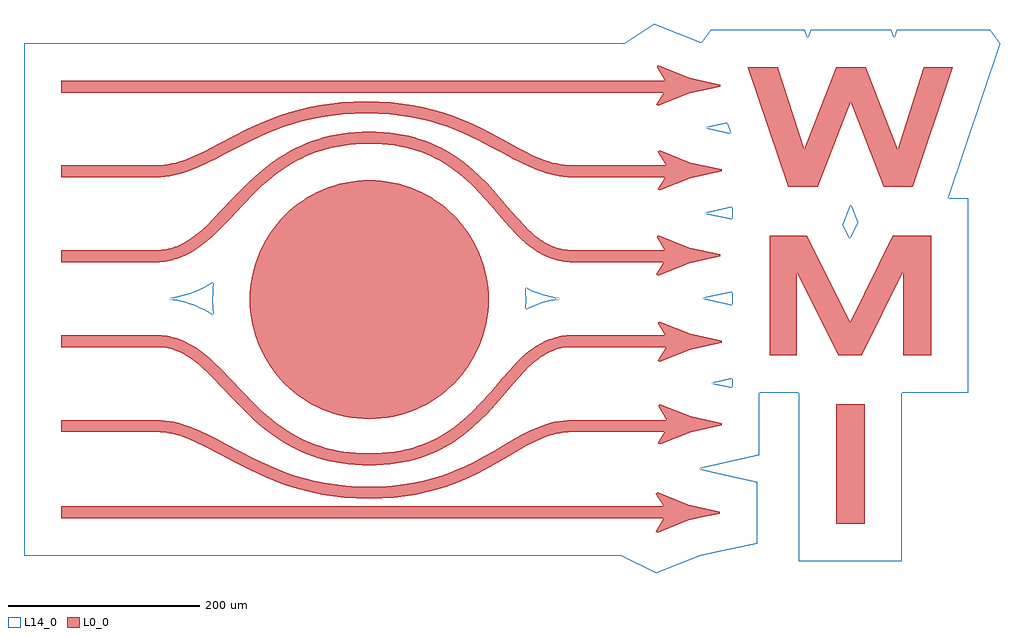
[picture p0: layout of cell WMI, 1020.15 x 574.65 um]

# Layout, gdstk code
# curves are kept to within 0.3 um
import gdstk
lib = gdstk.Library(unit=1e-6, precision=1e-09)
def R(c, l, rs):  # rectangles x0, y0, x1, y1
    for r in rs: c.add(gdstk.rectangle(r[:2], r[2:], *l))
def P(c, l, *ps):  # polygons
    for p in ps: c.add(gdstk.Polygon(p, *l))
L0_0 = (0, 0)
L14_0 = (14, 0)

wmi = lib.new_cell('WMI')
R(wmi, L0_0, [(338.721,-235.481,368.603,-110.579)])
P(wmi, L0_0, [(152.34,-244.642),(150.223,-243.585),(158.51,-229.88),(-471.076,-229.88),(-471.076,-217.404),(158.417,-217.404),(150.293,-204.035),(152.262,-202.724),(184.242,-215.423),(217.127,-222.657),(217.127,-224.74),(184.242,-231.971)],
  [(-149.189,-209.276),(-162.359,-208.988),(-186.957,-206.792),(-209.401,-202.744),(-229.923,-197.202),(-239.533,-193.985),(-257.582,-186.867),(-274.262,-179.149),(-321.741,-154.197),(-338.39,-146.619),(-350.741,-142.469),(-363.213,-140.032),(-371.704,-139.537),(-471.076,-139.537),(-471.076,-127.057),(-371.704,-127.057),(-362.48,-127.571),(-353.409,-129.05),(-339.942,-132.844),(-326.444,-138.222),(-308.024,-147.263),(-269.481,-167.609),(-253.444,-175.073),(-236.089,-181.961),(-226.85,-185.085),(-207.116,-190.459),(-185.525,-194.382),(-161.864,-196.516),(-149.189,-196.796),(-136.596,-196.516),(-113.352,-194.39),(-92.456,-190.475),(-73.634,-185.112),(-56.615,-178.658),(-41.116,-171.454),(-20.134,-160.012),(1.578,-147.352),(18.793,-138.273),(27.349,-134.51),(35.98,-131.401),(49.259,-128.199),(63.19,-127.057),(161.856,-127.057),(152.656,-111.917),(154.63,-110.606),(186.606,-123.305),(219.491,-130.543),(219.491,-132.622),(186.606,-139.856),(154.704,-152.528),(152.59,-151.467),(159.805,-139.537),(63.19,-139.537),(54.641,-140.028),(46.409,-141.44),(34.471,-145.043),(22.782,-150.113),(-36.308,-182.998),(-52.496,-190.478),(-70.28,-197.175),(-89.94,-202.728),(-111.769,-206.784),(-136.042,-208.984)],
  [(-149.189,-174.461),(-170.916,-173.307),(-184.262,-171.337),(-196.754,-168.498),(-208.454,-164.875),(-219.413,-160.542),(-229.685,-155.581),(-239.334,-150.071),(-252.742,-140.948),(-268.939,-127.61),(-290.517,-106.363),(-311.558,-84.086),(-327.131,-69.305),(-339.26,-60.394),(-347.804,-55.843),(-359.224,-52.052),(-369.11,-50.761),(-471.076,-50.706),(-471.076,-38.226),(-368.79,-38.285),(-357.64,-39.658),(-347.208,-42.715),(-334.973,-48.624),(-321.148,-58.3),(-312.252,-66.033),(-303.461,-74.578),(-282.187,-97.05),(-261.899,-117.229),(-246.681,-129.943),(-238.406,-135.843),(-229.619,-141.338),(-220.259,-146.354),(-210.279,-150.808),(-194.027,-156.268),(-182.257,-158.986),(-169.684,-160.874),(-149.189,-161.981),(-128.851,-160.877),(-116.472,-158.994),(-104.963,-156.283),(-89.207,-150.835),(-79.621,-146.397),(-70.702,-141.397),(-62.383,-135.914),(-54.614,-130.028),(-40.481,-117.35),(-21.889,-97.222),(-2.444,-74.742),(5.693,-66.154),(14,-58.385),(22.626,-51.619),(29.389,-47.309),(36.475,-43.745),(43.94,-40.999),(51.849,-39.155),(60.261,-38.285),(160.187,-38.226),(152.508,-25.594),(154.481,-24.284),(186.458,-36.986),(219.342,-44.221),(219.342,-46.299),(186.458,-53.538),(154.556,-66.205),(152.442,-65.144),(161.174,-50.706),(60.612,-50.761),(53.23,-51.568),(44.108,-54.041),(37.727,-56.837),(31.678,-60.351),(20.325,-69.216),(6.028,-83.923),(-13.184,-106.188),(-33.063,-127.49),(-48.195,-140.863),(-56.51,-147.064),(-65.409,-152.836),(-74.949,-158.093),(-85.194,-162.761),(-102.026,-168.482),(-114.308,-171.326),(-127.513,-173.303)],
  [(269.243,-59.314),(269.243,65.589),(308.091,65.589),(353.557,-24.608),(397.955,65.589),(438.082,65.589),(438.082,-59.314),(409.054,-59.314),(409.054,28.242),(365.51,-59.314),(340.964,-59.314),(297.416,27.536),(297.416,-59.314)],
  [(-149.189,-126.035),(-161.938,-125.387),(-174.321,-123.492),(-186.282,-120.407),(-197.748,-116.199),(-208.664,-110.93),(-218.964,-104.667),(-228.585,-97.467),(-237.458,-89.398),(-245.527,-80.522),(-252.726,-70.901),(-258.994,-60.605),(-264.263,-49.688),(-268.471,-38.219),(-271.552,-26.261),(-273.451,-13.875),(-274.094,-1.126),(-273.451,11.609),(-271.552,23.98),(-268.471,35.925),(-264.263,47.384),(-258.994,58.292),(-252.726,68.584),(-245.527,78.197),(-237.458,87.07),(-228.585,95.135),(-218.964,102.331),(-208.664,108.594),(-197.748,113.859),(-186.282,118.067),(-174.321,121.152),(-161.938,123.047),(-149.189,123.695),(-136.471,123.047),(-124.108,121.152),(-112.17,118.067),(-100.716,113.859),(-89.808,108.594),(-79.516,102.331),(-69.902,95.135),(-61.026,87.07),(-52.957,78.197),(-45.753,68.584),(-39.486,58.292),(-34.213,47.384),(-30.001,35.925),(-26.912,23.98),(-25.013,11.609),(-24.366,-1.126),(-25.013,-13.875),(-26.912,-26.261),(-30.001,-38.219),(-34.213,-49.688),(-39.486,-60.605),(-45.753,-70.901),(-52.957,-80.522),(-61.026,-89.398),(-69.902,-97.467),(-79.516,-104.667),(-89.808,-110.93),(-100.716,-116.199),(-112.17,-120.407),(-124.108,-123.492),(-136.471,-125.387)],
  [(153.105,24.034),(150.991,25.095),(158.803,38.016),(60.261,38.074),(54.595,38.542),(46.526,40.071),(41.405,41.612),(34.073,44.642),(22.626,51.42),(9.815,61.966),(-2.444,74.559),(-21.893,97.054),(-40.481,117.197),(-54.618,129.884),(-66.47,138.573),(-75.081,143.827),(-84.328,148.561),(-99.519,154.517),(-110.61,157.613),(-122.548,159.922),(-142.165,161.732),(-163.077,161.361),(-176.076,159.914),(-188.24,157.601),(-199.624,154.497),(-210.279,150.679),(-220.259,146.221),(-229.615,141.202),(-238.406,135.703),(-246.681,129.798),(-261.895,117.077),(-282.187,96.882),(-303.458,74.395),(-312.252,65.842),(-321.148,58.105),(-334.973,48.421),(-342.216,44.611),(-349.754,41.596),(-360.355,38.94),(-368.79,38.074),(-471.076,38.016),(-471.076,50.496),(-369.11,50.55),(-361.626,51.365),(-352.262,53.85),(-345.628,56.658),(-339.263,60.191),(-327.131,69.107),(-311.558,83.903),(-290.517,106.192),(-268.939,127.454),(-252.746,140.804),(-243.94,146.993),(-234.587,152.754),(-224.631,158.003),(-214.023,162.66),(-202.701,166.653),(-190.611,169.894),(-177.698,172.312),(-163.912,173.818),(-141.705,174.208),(-120.789,172.304),(-108.056,169.883),(-96.208,166.634),(-79.98,160.374),(-70.093,155.398),(-60.881,149.868),(-48.195,140.718),(-33.063,127.334),(-13.181,106.02),(6.032,83.739),(20.325,69.021),(31.678,60.148),(37.727,56.63),(44.108,53.834),(53.23,51.362),(60.612,50.55),(159.661,50.496),(151.057,64.645),(153.031,65.955),(185.011,53.253),(217.895,46.022),(217.895,43.94),(185.011,36.705)],
  [(154.4,112.923),(152.282,113.984),(160.058,126.846),(63.19,126.846),(53.819,127.337),(44.735,128.753),(31.475,132.392),(18.414,137.548),(0.841,146.21),(-35.524,165.655),(-50.718,172.784),(-67.274,179.363),(-85.455,185.061),(-105.517,189.546),(-127.724,192.479),(-139.712,193.259),(-164.996,193.259),(-188.564,191.223),(-209.978,187.472),(-229.471,182.335),(-238.569,179.352),(-255.616,172.765),(-271.322,165.628),(-308.945,146.174),(-326.959,137.528),(-344.622,130.988),(-357.98,127.934),(-371.704,126.846),(-471.076,126.846),(-471.076,139.326),(-371.704,139.326),(-363.233,139.798),(-354.957,141.151),(-346.802,143.285),(-338.706,146.096),(-322.392,153.339),(-276.037,177.199),(-259.707,184.578),(-241.982,191.383),(-232.52,194.46),(-212.252,199.764),(-189.987,203.633),(-165.495,205.731),(-139.193,205.731),(-126.71,204.924),(-103.586,201.894),(-82.686,197.261),(-63.748,191.368),(-46.498,184.558),(-30.672,177.168),(6.083,157.539),(22.178,149.462),(34.131,144.603),(46.268,141.147),(54.591,139.798),(63.19,139.326),(160.987,139.326),(152.348,153.534),(154.325,154.844),(186.305,142.142),(219.182,134.907),(219.182,132.829),(186.305,125.594)],
  [(288.665,116.854),(246.615,241.756),(277.78,241.756),(305.528,155.788),(339.041,241.756),(369.566,241.756),(403.29,155.433),(430.613,241.756),(460.709,241.756),(418.874,116.854),(388.563,116.854),(353.982,205.817),(319.405,116.854)],
  [(153.105,201.617),(150.991,202.678),(158.534,215.15),(-471.076,215.15),(-471.076,227.63),(159.934,227.63),(151.057,242.231),(153.031,243.542),(185.011,230.84),(217.895,223.605),(217.895,221.526),(185.011,214.288)])
P(wmi, L14_0, [(150.531,-287.323),(113.574,-268.88),(-510.076,-268.88),(-510.076,-83.833),(230.243,-83.833),(209.468,-88.404),(230.243,-92.978),(230.243,-83.833),(-510.076,-83.833),(-510.076,16.722),(-312.116,16.722),(-321.893,11.121),(-333.374,6.04),(-345.472,2.229),(-357.859,-0.104),(-345.464,-2.44),(-333.374,-6.246),(-321.912,-11.32),(-312.346,-16.776),(-313.106,-1.126),(-312.611,11.012),(14.148,11.012),(14.647,-1.126),(14.312,-11.133),(24.721,-6.402),(32.723,-3.637),(41.077,-1.504),(49.334,-0.104),(36.842,2.284),(23.445,6.722),(230.243,6.722),(199.772,0.022),(230.243,-6.687),(230.243,6.722),(23.445,6.722),(14.148,11.012),(-312.611,11.012),(-312.116,16.722),(-510.076,16.722),(-510.076,95.33),(230.243,95.33),(202.763,89.281),(230.243,83.24),(230.243,95.33),(-510.076,95.33),(-510.076,98.165),(353.982,98.165),(346.088,77.854),(345.585,77.854),(353.144,62.859),(361.283,79.391),(353.982,98.165),(-510.076,98.165),(-510.076,183.197),(225.181,183.197),(203.2,178.357),(228.698,172.749),(225.181,183.197),(-510.076,183.197),(-510.076,266.63),(117.295,266.63),(148.46,287.323),(198.337,267.843),(207.615,280.756),(306.172,280.756),(308.988,272.039),(312.385,280.756),(396.2,280.756),(399.433,272.484),(402.05,280.756),(499.709,280.756),(510.076,266.349),(455.897,104.589),(477.082,104.589),(477.082,-98.314),(407.603,-98.314),(407.603,-274.481),(299.721,-274.481),(299.721,-98.314),(254.485,-98.314),(258.491,-99.195),(258.491,-163.974),(198.08,-177.265),(196.028,-178.08),(256.127,-191.309),(256.127,-256.096),(195.697,-269.383)])
wmi.add(gdstk.FlexPath([(161.856,-127.057),(161.856,-127.057)], 0, ends="flush", simple_path=True, layer=0, datatype=0))  # L0_0
wmi.add(gdstk.FlexPath([(159.934,227.63),(159.934,227.63)], 0, ends="flush", simple_path=True, layer=0, datatype=0))  # L0_0
wmi.add(gdstk.FlexPath([(158.417,-217.404),(158.417,-217.404)], 0, ends="flush", simple_path=True, layer=0, datatype=0))  # L0_0
wmi.add(gdstk.FlexPath([(403.29,155.433),(403.29,155.433)], 0, ends="flush", simple_path=True, layer=0, datatype=0))  # L0_0
wmi.add(gdstk.FlexPath([(438.082,-59.314),(438.082,-59.314)], 0, ends="flush", simple_path=True, layer=0, datatype=0))  # L0_0

lib.write_gds('WMI.gds')
